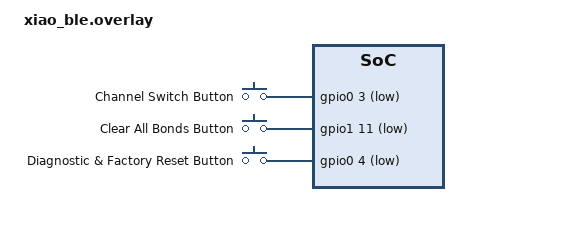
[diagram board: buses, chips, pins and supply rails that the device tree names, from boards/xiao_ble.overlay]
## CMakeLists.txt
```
# xiao_mouse AKA 07069
cmake_minimum_required(VERSION 3.20.0)

# --- Find patch (Dual Boot) ---
find_program(PATCH_EXECUTABLE patch)
if(PATCH_EXECUTABLE)
    execute_process(
        COMMAND ${PATCH_EXECUTABLE} -p1 -N -i ${CMAKE_CURRENT_SOURCE_DIR}/dual_boot_fix.patch
        WORKING_DIRECTORY $ENV{ZEPHYR_BASE}
        RESULT_VARIABLE patch_result
        ERROR_QUIET
    )
    message(STATUS "Dual-Boot Patch Status: ${patch_result}")
endif()
# -----------------------------------------------------------

find_package(Zephyr REQUIRED HINTS $ENV{ZEPHYR_BASE})
project(xiao_mouse)

target_sources(app PRIVATE src/main.c)
```

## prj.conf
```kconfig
CONFIG_BT=y
CONFIG_BT_PERIPHERAL=y
CONFIG_BT_DEVICE_NAME="XIAO_Mouse"
CONFIG_BT_MAX_CONN=1

CONFIG_BT_MAX_PAIRED=3
CONFIG_BT_ID_MAX=3
CONFIG_BT_CTLR_RL_SIZE=8

# 關閉擴展廣播，回歸傳統廣播
CONFIG_BT_EXT_ADV=n

CONFIG_SETTINGS=y
CONFIG_BT_SETTINGS=y
CONFIG_FLASH=y
CONFIG_FLASH_PAGE_LAYOUT=y
CONFIG_FLASH_MAP=y
CONFIG_NVS=y
CONFIG_GPIO=y

CONFIG_BT_SMP=y
CONFIG_BT_BONDABLE=y
CONFIG_BT_PRIVACY=y
CONFIG_BT_SMP_ALLOW_UNAUTH_OVERWRITE=y
CONFIG_BT_KEYS_OVERWRITE_OLDEST=y

CONFIG_BT_DEVICE_APPEARANCE=962

CONFIG_MAIN_STACK_SIZE=4096
CONFIG_SYSTEM_WORKQUEUE_STACK_SIZE=4096
CONFIG_BT_RX_STACK_SIZE=4096

CONFIG_BT_DIS=y
CONFIG_BT_DIS_PNP=y
CONFIG_BT_DIS_MANUF="XIAO"
CONFIG_BT_DIS_PNP_VID_SRC=2
CONFIG_BT_DIS_PNP_VID=0x046D
CONFIG_BT_DIS_PNP_PID=0xB023
CONFIG_BT_DIS_PNP_VER=0x0100

# --- 【實驗 B】正確的日誌設定 (Zephyr 4.4.1 適用) ---
CONFIG_LOG=y
CONFIG_BT_SMP_LOG_LEVEL_DBG=y

# --- 【系統重啟功能】 ---
CONFIG_REBOOT=y
```

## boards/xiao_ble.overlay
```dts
/ {
    buttons {
        compatible = "gpio-keys";
        
        /* 頻道切換按鈕 (D3) */
        switch_btn: button_0 {
            gpios = <&gpio0 3 (GPIO_PULL_UP | GPIO_ACTIVE_LOW)>;
            label = "Channel Switch Button";
        };

        /* 全清除按鈕 (D6) */
        clear_btn: button_1 {
            gpios = <&gpio1 11 (GPIO_PULL_UP | GPIO_ACTIVE_LOW)>;
            label = "Clear All Bonds Button";
        };

        /* 【新增】硬體健檢與核彈重置按鈕 (D4) */
        diag_btn: button_2 {
            gpios = <&gpio0 4 (GPIO_PULL_UP | GPIO_ACTIVE_LOW)>;
            label = "Diagnostic & Factory Reset Button";
        };
    };
};
```

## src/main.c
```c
#include <zephyr/kernel.h>
#include <zephyr/device.h>
#include <zephyr/drivers/gpio.h>
#include <zephyr/drivers/flash.h>
#include <zephyr/bluetooth/bluetooth.h>
#include <zephyr/bluetooth/conn.h>
#include <zephyr/bluetooth/gatt.h>
#include <zephyr/bluetooth/uuid.h>
#include <zephyr/settings/settings.h>
#include <zephyr/sys/reboot.h>
#include <stdio.h>

#define CH_COUNT 3

// --- 硬體按鈕設定 ---
static const struct gpio_dt_spec button = GPIO_DT_SPEC_GET(DT_NODELABEL(switch_btn), gpios);
static struct gpio_callback button_cb_data;
static const struct gpio_dt_spec clr_button = GPIO_DT_SPEC_GET(DT_NODELABEL(clear_btn), gpios);
static struct gpio_callback clr_button_cb_data;

// 儲存 Zephyr Identity ID
static uint8_t channel_ids[CH_COUNT] = {0, 1, 2};
static uint8_t current_channel = 0;
static struct bt_conn *current_conn = NULL;
static int64_t last_button_time = 0;
static int64_t last_clr_button_time = 0;

static bool volatile is_switching = false;

// =========================================================
//  【關鍵防護】背景排程器完整宣告區塊
// =========================================================
static void switch_channel_work_handler(struct k_work *work);
K_WORK_DEFINE(switch_channel_work, switch_channel_work_handler);

static void complete_switch_work_handler(struct k_work *work);
K_WORK_DEFINE(complete_switch_work, complete_switch_work_handler);

static void factory_reset_work_handler(struct k_work *work);
K_WORK_DEFINE(factory_reset_work, factory_reset_work_handler);

static void restart_adv_work_handler(struct k_work *work);
K_WORK_DEFINE(restart_adv_work, restart_adv_work_handler);
// =========================================================

// 記憶目前頻道
static int app_settings_set(const char *name, size_t len, settings_read_cb read_cb, void *cb_arg) {
    if (strcmp(name, "ch") == 0) { read_cb(cb_arg, &current_channel, sizeof(current_channel)); return 0; }
    if (strcmp(name, "ids") == 0) { read_cb(cb_arg, channel_ids, sizeof(channel_ids)); return 0; }
    return -ENOENT;
}
SETTINGS_STATIC_HANDLER_DEFINE(app_settings, "app", NULL, app_settings_set, NULL, NULL);

// GATT HID 滑鼠服務表
static const uint8_t hid_report_map[] = { 0x05, 0x01, 0x09, 0x02, 0xa1, 0x01, 0xc0 };
struct hids_info { uint16_t version; uint8_t code; uint8_t flags; } __packed;
static struct hids_info info = { .version = 0x0111, .code = 0x00, .flags = BIT(1) };

static ssize_t read_info(struct bt_conn *conn, const struct bt_gatt_attr *attr, void *buf, uint16_t len, uint16_t offset) { return bt_gatt_attr_read(conn, attr, buf, len, offset, attr->user_data, sizeof(struct hids_info)); }
static ssize_t read_report_map(struct bt_conn *conn, const struct bt_gatt_attr *attr, void *buf, uint16_t len, uint16_t offset) { return bt_gatt_attr_read(conn, attr, buf, len, offset, hid_report_map, sizeof(hid_report_map)); }
static ssize_t read_input_report(struct bt_conn *conn, const struct bt_gatt_attr *attr, void *buf, uint16_t len, uint16_t offset) { return bt_gatt_attr_read(conn, attr, buf, len, offset, NULL, 0); }

BT_GATT_SERVICE_DEFINE(hog_svc,
    BT_GATT_PRIMARY_SERVICE(BT_UUID_HIDS),
    BT_GATT_CHARACTERISTIC(BT_UUID_HIDS_INFO, BT_GATT_CHRC_READ, BT_GATT_PERM_READ, read_info, NULL, &info),
    BT_GATT_CHARACTERISTIC(BT_UUID_HIDS_REPORT_MAP, BT_GATT_CHRC_READ, BT_GATT_PERM_READ, read_report_map, NULL, NULL),
    BT_GATT_CHARACTERISTIC(BT_UUID_HIDS_REPORT, BT_GATT_CHRC_READ | BT_GATT_CHRC_NOTIFY, BT_GATT_PERM_READ_ENCRYPT, read_input_report, NULL, NULL),
    BT_GATT_CCC(NULL, BT_GATT_PERM_READ_ENCRYPT | BT_GATT_PERM_WRITE_ENCRYPT)
);

// 三個頻道的獨立廣播資料與名稱 (附帶 UUID 以避免手機隱藏)
static const struct bt_data ad_ch0[] = { 
    BT_DATA_BYTES(BT_DATA_FLAGS, (BT_LE_AD_GENERAL | BT_LE_AD_NO_BREDR)), 
    BT_DATA_BYTES(BT_DATA_UUID16_ALL, 0x12, 0x18), 
    BT_DATA_BYTES(BT_DATA_GAP_APPEARANCE, 0xC2, 0x03), 
    BT_DATA(BT_DATA_NAME_COMPLETE, "XIAO_CH_1", 9) 
};
static const struct bt_data ad_ch1[] = { 
    BT_DATA_BYTES(BT_DATA_FLAGS, (BT_LE_AD_GENERAL | BT_LE_AD_NO_BREDR)), 
    BT_DATA_BYTES(BT_DATA_UUID16_ALL, 0x12, 0x18), 
    BT_DATA_BYTES(BT_DATA_GAP_APPEARANCE, 0xC2, 0x03), 
    BT_DATA(BT_DATA_NAME_COMPLETE, "XIAO_CH_2", 9) 
};
static const struct bt_data ad_ch2[] = { 
    BT_DATA_BYTES(BT_DATA_FLAGS, (BT_LE_AD_GENERAL | BT_LE_AD_NO_BREDR)), 
    BT_DATA_BYTES(BT_DATA_UUID16_ALL, 0x12, 0x18), 
    BT_DATA_BYTES(BT_DATA_GAP_APPEARANCE, 0xC2, 0x03), 
    BT_DATA(BT_DATA_NAME_COMPLETE, "XIAO_CH_3", 9) 
};
static const struct bt_data *ad_lists[CH_COUNT] = {ad_ch0, ad_ch1, ad_ch2};
static const size_t ad_sizes[CH_COUNT] = {ARRAY_SIZE(ad_ch0), ARRAY_SIZE(ad_ch1), ARRAY_SIZE(ad_ch2)};

static void start_adv_for_current_channel(void) {
    bt_le_adv_stop(); 

    struct bt_le_adv_param adv_param = {
        .id = channel_ids[current_channel], 
        .options = BT_LE_ADV_OPT_CONN | BT_LE_ADV_OPT_USE_IDENTITY,
        .interval_min = BT_GAP_ADV_FAST_INT_MIN_2,
        .interval_max = BT_GAP_ADV_FAST_INT_MAX_2,
    };
    
    int err = bt_le_adv_start(&adv_param, ad_lists[current_channel], ad_sizes[current_channel], NULL, 0);
    if (!err) printk("\n[ 頻道 %d ] 正在廣播滑鼠訊號... (底層ID: %d)\n", current_channel + 1, channel_ids[current_channel]);
    else printk("\n[ 錯誤 ] 廣播失敗 (err %d)\n", err);
}

// 安全重啟廣播處理器 (修復 err -12)
static void restart_adv_work_handler(struct k_work *work) {
    k_sleep(K_MSEC(200)); 
    start_adv_for_current_channel();
}

static void connected(struct bt_conn *conn, uint8_t err) {
    if (err) return;
    current_conn = bt_conn_ref(conn);
    printk(">>> 已連線至頻道 %d\n", current_channel + 1);
}

static void disconnected(struct bt_conn *conn, uint8_t reason) {
    if (current_conn == conn) {
        bt_conn_unref(current_conn);
        current_conn = NULL;
    }
    printk(">>> 已斷線 (原因: 0x%02x)\n", reason);

    if (is_switching) {
        is_switching = false;
        k_work_submit(&complete_switch_work); 
    } else {
        k_work_submit(&restart_adv_work);
    }
}

BT_CONN_CB_DEFINE(conn_callbacks) = { 
    .connected = connected, 
    .disconnected = disconnected,
};

static void auth_pairing_complete(struct bt_conn *conn, bool bonded) {
    printk(">>> 頻道 %d 配對成功並綁定！\n", current_channel + 1);
}

static void auth_pairing_failed(struct bt_conn *conn, enum bt_security_err reason) {
    printk(">>> 頻道 %d 配對失敗 (原因: %d)\n", current_channel + 1, reason);
}
static struct bt_conn_auth_info_cb conn_auth_info_callbacks = { .pairing_complete = auth_pairing_complete, .pairing_failed = auth_pairing_failed };

// 切換頻道邏輯
static void switch_channel_work_handler(struct k_work *work) {
    printk("\n================ 切換頻道 ================\n");
    bt_le_adv_stop(); 
    if (current_conn) {
        is_switching = true;
        bt_conn_disconnect(current_conn, BT_HCI_ERR_REMOTE_USER_TERM_CONN);
    } else {
        k_work_submit(&complete_switch_work);
    }
}

static void complete_switch_work_handler(struct k_work *work) {
    current_channel = (current_channel + 1) % CH_COUNT;
    settings_save_one("app/ch", &current_channel, sizeof(current_channel));
    start_adv_for_current_channel();
}

// 物理層核彈抹除
static void factory_reset_work_handler(struct k_work *work) {
    printk("\n================ 執行物理層核彈抹除 ================\n");
    bt_le_adv_stop();
    if (current_conn) {
        bt_conn_disconnect(current_conn, BT_HCI_ERR_REMOTE_USER_TERM_CONN);
    }
    
    printk(">>> 正在啟動物理 Flash 抹除 (繞過檔案系統)...\n");
    const struct device *flash_dev = DEVICE_DT_GET(DT_CHOSEN(zephyr_flash_controller));
    if (device_is_ready(flash_dev)) {
        off_t storage_offset = DT_REG_ADDR(DT_NODELABEL(storage_partition));
        size_t storage_size = DT_REG_SIZE(DT_NODELABEL(storage_partition));
        int rc = flash_erase(flash_dev, storage_offset, storage_size);
        if (rc == 0) {
            printk(">>> [成功] 實體磁區已全部填入 0xFF！\n");
        }
    }
    
    printk(">>> 系統將於 1 秒後重新啟動...\n");
    k_sleep(K_MSEC(1000));
    sys_reboot(SYS_REBOOT_COLD); 
}

void switch_button_pressed(const struct device *dev, struct gpio_callback *cb, uint32_t pins) {
    int64_t now = k_uptime_get();
    if (now - last_button_time > 1000) { 
        last_button_time = now; 
        k_work_submit(&switch_channel_work); 
    }
}

void clear_button_pressed(const struct device *dev, struct gpio_callback *cb, uint32_t pins) {
    int64_t now = k_uptime_get();
    if (now - last_clr_button_time > 1500) { 
        last_clr_button_time = now; 
        k_work_submit(&factory_reset_work); 
    }
}

// =========================================================
//  固定初始化 MAC、MAC+1、MAC+2 (防幽靈自癒機制)
// =========================================================
static void init_bluetooth_identities(void) {
    bt_addr_le_t addrs[CONFIG_BT_ID_MAX];
    size_t count = CONFIG_BT_ID_MAX;
    bt_id_get(addrs, &count);
    
    if (count != 3 || channel_ids[1] == 0xFF || channel_ids[2] == 0xFF) {
        printk("\n>>> [系統自癒] 偵測到 NVS 身分異常 (目前 %d 個)。\n", count);
        
        for (int i = 1; i < CONFIG_BT_ID_MAX; i++) {
            bt_id_delete(i);
        }

        bt_addr_le_t base_addr = addrs[0]; 

        bt_addr_le_t mac1 = base_addr;
        mac1.a.val[0] += 1;
        mac1.type = BT_ADDR_LE_RANDOM;
        mac1.a.val[5] |= 0xC0; 
        int id1 = bt_id_create(&mac1, NULL);
        channel_ids[1] = (id1 >= 0) ? id1 : 1;

        bt_addr_le_t mac2 = base_addr;
        mac2.a.val[0] += 2;
        mac2.type = BT_ADDR_LE_RANDOM;
        mac2.a.val[5] |= 0xC0;
        int id2 = bt_id_create(&mac2, NULL);
        channel_ids[2] = (id2 >= 0) ? id2 : 2;

        settings_save_one("app/ids", channel_ids, sizeof(channel_ids));
        printk("-> 身分重建完成！CH1 ID: %d, CH2 ID: %d, CH3 ID: %d\n", channel_ids[0], channel_ids[1], channel_ids[2]);
    } else {
        printk("-> 從 NVS 成功載入既有身分！CH1 ID: %d, CH2 ID: %d, CH3 ID: %d\n", channel_ids[0], channel_ids[1], channel_ids[2]);
    }
}

int main(void) {
    k_sleep(K_SECONDS(3));
    printk("\n========================================\n");
    printk("XIAO nRF52840 Plus - 完美顯形商用版\n");
    printk("========================================\n");

    if (device_is_ready(button.port)) {
        gpio_pin_configure_dt(&button, GPIO_INPUT);
        gpio_pin_interrupt_configure_dt(&button, GPIO_INT_EDGE_TO_ACTIVE);
        gpio_init_callback(&button_cb_data, switch_button_pressed, BIT(button.pin));
        gpio_add_callback(button.port, &button_cb_data);
    }
    if (device_is_ready(clr_button.port)) {
        gpio_pin_configure_dt(&clr_button, GPIO_INPUT);
        gpio_pin_interrupt_configure_dt(&clr_button, GPIO_INT_EDGE_TO_ACTIVE);
        gpio_init_callback(&clr_button_cb_data, clear_button_pressed, BIT(clr_button.pin));
        gpio_add_callback(clr_button.port, &clr_button_cb_data);
    }

    bt_conn_auth_info_cb_register(&conn_auth_info_callbacks);
    bt_enable(NULL);
    
    settings_load(); 
    init_bluetooth_identities();
    
    start_adv_for_current_channel();

    return 0;
}
```
